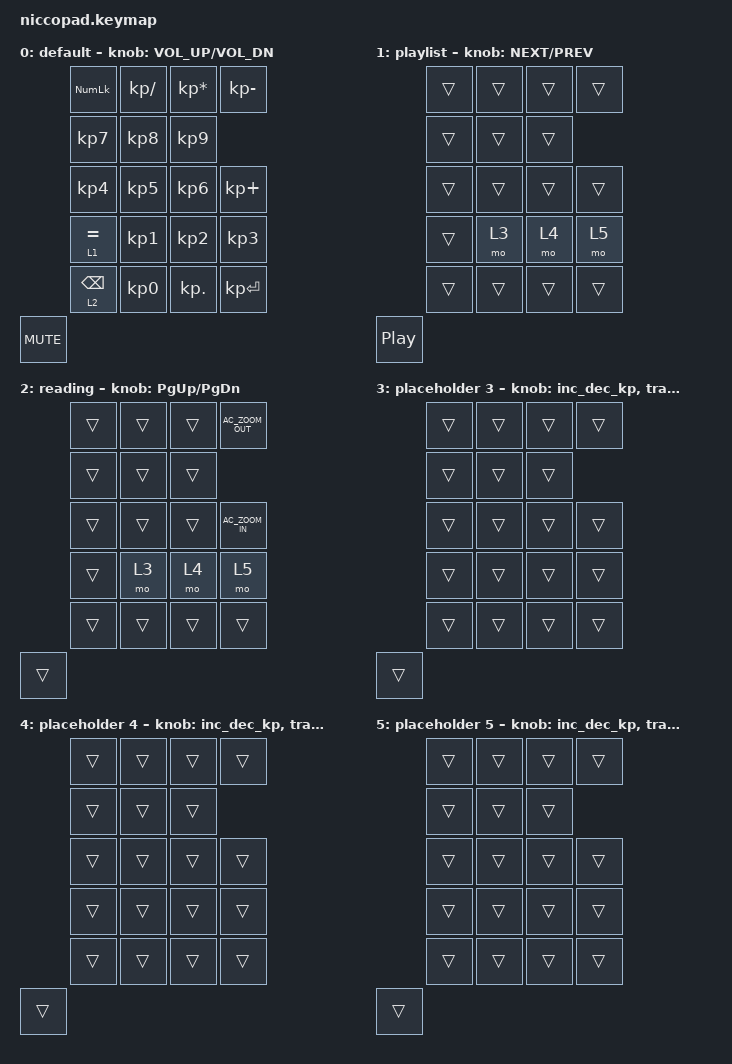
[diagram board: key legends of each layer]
#include <behaviors.dtsi>
#include <dt-bindings/zmk/keys.h>
#include <dt-bindings/zmk/bt.h>
#include <dt-bindings/zmk/outputs.h>

#define TIMEOUT 300

&encoder {
  status = "okay";
};

/ {
  combos {
    compatible = "zmk,combos";
    combo_btclr {
      timeout-ms = <TIMEOUT>;
      key-positions = <0 11>;
      bindings = <&bt BT_CLR>;
    };
    combo_btnxt {
      timeout-ms = <TIMEOUT>;
      key-positions = <1 11>;
      bindings = <&bt BT_NXT>;
    };
    combo_bootloader {
      timeout-ms = <TIMEOUT>;
      key-positions = <10 11>;
      bindings = <&bootloader>;
    };
  };

  keymap {
    compatible = "zmk,keymap";

    default_layer {
      display-name = "default";
      bindings = <
                        &kp KP_NUM  &kp KP_DIVIDE   &kp KP_MULTIPLY &kp KP_MINUS
                        &kp KP_N7   &kp KP_N8       &kp KP_N9
                        &kp KP_N4   &kp KP_N5       &kp KP_N6       &kp KP_PLUS
        &lt 1 EQUAL     &kp KP_N1   &kp KP_N2       &kp KP_N3     
        &lt 2 BSPC      &kp KP_N0   &kp KP_DOT      &kp KP_ENTER
        &kp C_MUTE
      >;
      sensor-bindings = <&inc_dec_kp C_VOL_UP C_VOL_DN>;
    };

    fn1_layer {
      display-name = "playlist";
      bindings = <
                        &trans  &trans   &trans &trans
                        &trans  &trans   &trans
                        &trans  &trans   &trans &trans
        &trans          &mo 3   &mo 4    &mo 5     
        &trans          &trans  &trans   &trans
        &kp C_PP
      >;
      sensor-bindings = <&inc_dec_kp C_NEXT C_PREV>;
    };

    fn2_layer {
      display-name = "reading";
      bindings = <
                        &trans  &trans   &trans &kp C_AC_ZOOM_OUT
                        &trans  &trans   &trans
                        &trans  &trans   &trans &kp C_AC_ZOOM_IN
        &trans          &mo 3   &mo 4    &mo 5     
        &trans          &trans  &trans   &trans
        &trans
      >;
      sensor-bindings = <&inc_dec_kp PG_UP PG_DN>;
    };

    fn3_layer {
      display-name = "placeholder 3";
      bindings = <
                        &trans  &trans   &trans &trans
                        &trans  &trans   &trans
                        &trans  &trans   &trans &trans
        &trans          &trans  &trans   &trans     
        &trans          &trans  &trans   &trans
        &trans
      >;
      sensor-bindings = <&inc_dec_kp &trans &trans>;
    };

    fn4_layer {
      display-name = "placeholder 4";
      bindings = <
                        &trans  &trans   &trans &trans
                        &trans  &trans   &trans
                        &trans  &trans   &trans &trans
        &trans          &trans  &trans   &trans     
        &trans          &trans  &trans   &trans
        &trans
      >;
      sensor-bindings = <&inc_dec_kp &trans &trans>;
    };

    fn5_layer {
      display-name = "placeholder 5";
      bindings = <
                        &trans  &trans   &trans &trans
                        &trans  &trans   &trans
                        &trans  &trans   &trans &trans
        &trans          &trans  &trans   &trans     
        &trans          &trans  &trans   &trans
        &trans
      >;
      sensor-bindings = <&inc_dec_kp &trans &trans>;
    };
  };
};
